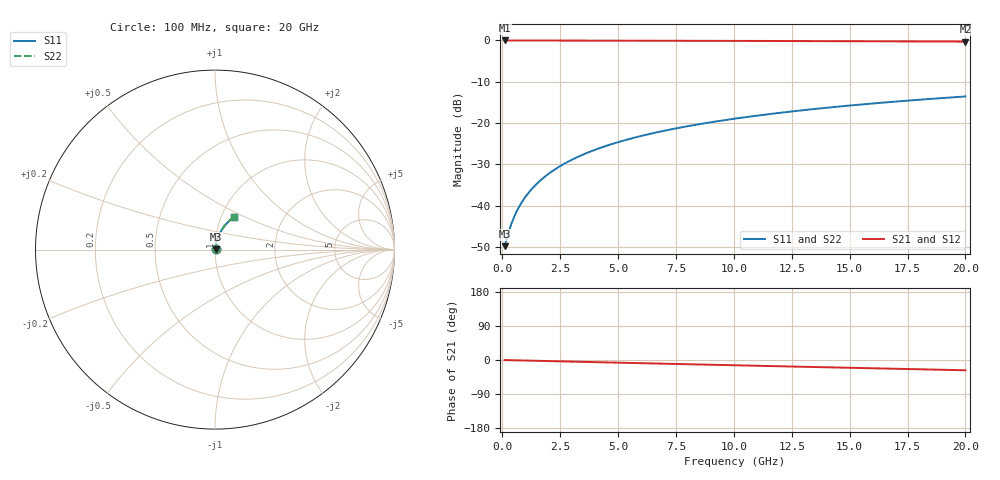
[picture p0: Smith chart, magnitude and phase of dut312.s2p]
! Touchstone file exported from HFSS 2026.1.0
!  File:  C:/ffzhzh/LocalFiles/Ansys_Project_Files/temp_train_BSMRDL_312_1783010695_55676.aedt
!  Generated:  12:46:10 AM Jul  3, 2026
!  Design:  BSMRDL
!  Project:  temp_train_BSMRDL_312_1783010695_55676
! Variables:
!  h_bsmrdl = 4.25um
!  h_ox = 20um
!  h_rdl = 5um
!  h_sub = 80um
!  h_tmrdl = 5um
!  h_tsv = 80um
!  h_via = 3um
!  l_bsmrdl = 428.82um
!  l_sub = 828.82um
!  l_tmrdl = 200um
!  m_sub = 200um
!  pitch = 25.08um
!  r_tsv = 6um
!  s_tmrdl = 10um
!  w_bsmrdl = 12.68um
!  w_sub = 500um
!  w_tmrdl = 12um
!  x_tsv_center1 = 206um
!  x_tsv_center2 = 647.5um
!  x_tsv_center3 = 859.5um
!  x_tsv_center4 = 1301um
!  x_tsv_center5 = 1513um
!  x_tsv_center6 = 1954.5um
# GHz S MA R 50.000000
! Terminal data exported
! Port[1] = BSM_RDL1_1_T1
! Port[2] = BSM_RDL1_1_T2
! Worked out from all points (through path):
!   200 points, 100 MHz to 20 GHz, reference 50 ohm
!   highest |S21| = -0.03 dB at 100 MHz (marker M1); lowest = -0.3 dB at 20 GHz (marker M2)
!   group delay of S21, straight-line fit = 3.75 ps
!   lowest |S11| = -49.8 dB at 100 MHz (marker M3), VSWR 1.01, Z = 50.3 + j0.135 ohm
!   |S11| at or under -10 dB: start of sweep to end of sweep
!   |S22| runs from -49.8 to -13.6 dB; largest |S21 - S12| = 4e-15
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0.1  0.003218 24.6  0.9971 -0.2  0.9971 -0.2  0.003218 24.6
! Gamma 0 0 0 0
! Port Impedance 50 0 50 0
0.3  0.005015 51.1  0.9969 -0.4  0.9969 -0.4  0.005014 51.1
0.4  0.006076 57.3  0.9968 -0.6  0.9968 -0.6  0.006076 57.3
0.5  0.00716 61.6  0.9967 -0.7  0.9967 -0.7  0.007159 61.6
0.6  0.008256 64.8  0.9966 -0.9  0.9966 -0.9  0.008254 64.8
0.7  0.00936 67.2  0.9965 -1.0  0.9965 -1.0  0.009358 67.2
0.9  0.01159 70.7  0.9964 -1.3  0.9964 -1.3  0.01159 70.7
1.2  0.015 74.0  0.9962 -1.7  0.9962 -1.7  0.01499 74.0
1.4  0.01729 75.4  0.9961 -2.0  0.9961 -2.0  0.01729 75.4
1.7  0.02074 76.8  0.9959 -2.4  0.9959 -2.4  0.02074 76.8
2.2  0.02653 78.0  0.9956 -3.1  0.9956 -3.1  0.02653 78.0
2.8  0.03347 78.5  0.9951 -4.0  0.9951 -4.0  0.03347 78.5
3.5  0.04152 78.5  0.9944 -5.0  0.9944 -5.0  0.04151 78.5
4.2  0.04949 78.1  0.9937 -5.9  0.9937 -5.9  0.04949 78.1
5  0.05849 77.4  0.9927 -7.1  0.9927 -7.1  0.05849 77.4
5.9  0.06847 76.5  0.9915 -8.3  0.9915 -8.3  0.06847 76.5
6.8  0.07831 75.5  0.9902 -9.5  0.9902 -9.5  0.07831 75.5
8.3  0.0944 73.8  0.9879 -11.6  0.9879 -11.6  0.0944 73.8
10.1  0.1133 71.6  0.985 -14.0  0.985 -14.0  0.1133 71.6
13.4  0.1467 67.6  0.9791 -18.4  0.9791 -18.4  0.1467 67.6
16.7  0.1787 63.6  0.9727 -22.8  0.9727 -22.8  0.1787 63.6
20  0.2091 59.6  0.9658 -27.1  0.9658 -27.1  0.2091 59.6
